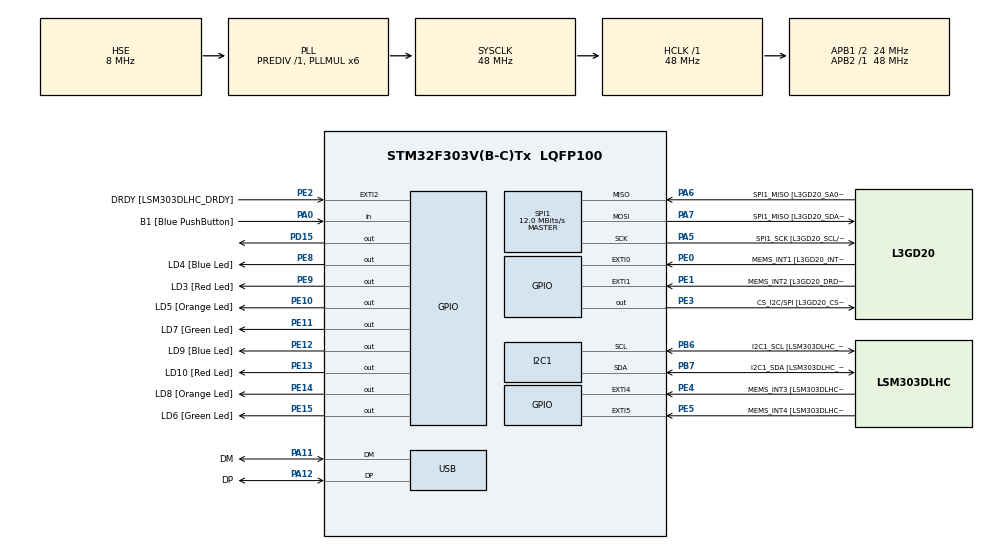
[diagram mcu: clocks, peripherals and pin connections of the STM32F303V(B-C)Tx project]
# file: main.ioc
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I2C1.Timing-I2C=0x2000090E
Mcu.Family=STM32F3
Mcu.Name=STM32F303V(B-C)Tx
Mcu.Package=LQFP100
NVIC.PriorityGroup=NVIC_PRIORITYGROUP_0
PA0.GPIO_Label=B1 [Blue PushButton]
PA0.Signal=GPIO_Input
PA11.GPIO_Label=DM
PA11.Mode=Device
PA11.Signal=USB_DM
PA12.GPIO_Label=DP
PA12.Mode=Device
PA12.Signal=USB_DP
PA13.GPIO_Label=SWDIO
PA13.Mode=Serial_Wire
PA13.Signal=SYS_JTMS-SWDIO
PA14.GPIO_Label=SWCLK
PA14.Mode=Serial_Wire
PA14.Signal=SYS_JTCK-SWCLK
PA5.GPIO_Label=SPI1_SCK [L3GD20_SCL/SPC]
PA5.Mode=Full_Duplex_Master
PA5.Signal=SPI1_SCK
PA6.GPIO_Label=SPI1_MISO [L3GD20_SA0/SDO]
PA6.Mode=Full_Duplex_Master
PA6.Signal=SPI1_MISO
PA7.GPIO_Label=SPI1_MISO [L3GD20_SDA/SDI/SDO]
PA7.Mode=Full_Duplex_Master
PA7.Signal=SPI1_MOSI
PB3.GPIO_Label=SWO
PB3.Signal=SYS_JTDO-TRACESWO
PB6.GPIO_Label=I2C1_SCL [LSM303DLHC_SCL]
PB6.GPIO_Pu=GPIO_PULLUP
PB6.Mode=I2C
PB6.Signal=I2C1_SCL
PB7.GPIO_Label=I2C1_SDA [LSM303DLHC_SDA]
PB7.GPIO_Pu=GPIO_PULLUP
PB7.Mode=I2C
PB7.Signal=I2C1_SDA
PC14-OSC32_IN.GPIO_Label=OSC32_IN
PC14-OSC32_IN.Signal=RCC_OSC32_IN
PC15-OSC32_OUT.GPIO_Label=OSC32_OUT
PC15-OSC32_OUT.Signal=RCC_OSC32_OUT
PD15.Signal=GPIO_Output
PE0.GPIO_Label=MEMS_INT1 [L3GD20_INT1]
PE0.GPIO_ModeDefaultEXTI=GPIO_MODE_EVT_RISING
PE0.Signal=GPXTI0
PE1.GPIO_Label=MEMS_INT2 [L3GD20_DRDY/INT2]
PE1.GPIO_ModeDefaultEXTI=GPIO_MODE_EVT_RISING
PE1.Signal=GPXTI1
PE10.GPIO_Label=LD5 [Orange Led]
PE10.Signal=GPIO_Output
PE11.GPIO_Label=LD7 [Green Led]
PE11.Signal=GPIO_Output
PE12.GPIO_Label=LD9 [Blue Led]
PE12.Signal=GPIO_Output
PE13.GPIO_Label=LD10 [Red Led]
PE13.Signal=GPIO_Output
PE14.GPIO_Label=LD8 [Orange Led]
PE14.Signal=GPIO_Output
PE15.GPIO_Label=LD6 [Green Led]
PE15.Signal=GPIO_Output
PE2.GPIO_Label=DRDY [LSM303DLHC_DRDY]
PE2.GPIO_ModeDefaultEXTI=GPIO_MODE_EVT_RISING
PE2.Signal=GPXTI2
PE3.GPIO_Label=CS_I2C/SPI [L3GD20_CS_I2C/SPI]
PE3.Signal=GPIO_Output
PE4.GPIO_Label=MEMS_INT3 [LSM303DLHC_INT1]
PE4.GPIO_ModeDefaultEXTI=GPIO_MODE_EVT_RISING
PE4.Signal=GPXTI4
PE5.GPIO_Label=MEMS_INT4 [LSM303DLHC_INT2]
PE5.GPIO_ModeDefaultEXTI=GPIO_MODE_EVT_RISING
PE5.Signal=GPXTI5
PE8.GPIO_Label=LD4 [Blue Led]
PE8.Signal=GPIO_Output
PE9.GPIO_Label=LD3 [Red Led]
PE9.Signal=GPIO_Output
PF0-OSC_IN.GPIO_Label=OSC_IN
PF0-OSC_IN.Mode=HSE-External-Clock-Source
PF0-OSC_IN.Signal=RCC_OSC_IN
PF1-OSC_OUT.GPIO_Label=OSC_OUT
PF1-OSC_OUT.Signal=RCC_OSC_OUT
ProjectManager.HeapSize=0x200
ProjectManager.StackSize=0x400
ProjectManager.TargetToolchain=STM32CubeIDE
RCC.AHBFreq_Value=48000000
RCC.APB1CLKDivider=RCC_HCLK_DIV2
RCC.APB1Freq_Value=24000000
RCC.APB1TimFreq_Value=48000000
RCC.APB2Freq_Value=48000000
RCC.APB2TimFreq_Value=48000000
RCC.CortexFreq_Value=48000000
RCC.HCLKFreq_Value=48000000
RCC.HSE_VALUE=8000000
RCC.HSI_VALUE=8000000
RCC.LSE_VALUE=32768
RCC.PLLMUL=RCC_PLL_MUL6
RCC.SYSCLKFreq_VALUE=48000000
RCC.SYSCLKSourceVirtual=RCC_SYSCLKSOURCE_PLLCLK
RCC.USBFreq_Value=48000000
SPI1.BaudRatePrescaler=SPI_BAUDRATEPRESCALER_4
SPI1.BaudRatePrescaler-Full_Duplex_Master=SPI_BAUDRATEPRESCALER_2
SPI1.CalculateBaudRate=12.0 MBits/s
SPI1.CalculateBaudRate-Full_Duplex_Master=24.0 MBits/s
SPI1.Direction=SPI_DIRECTION_2LINES
SPI1.Mode=SPI_MODE_MASTER
SPI1.Mode-Full_Duplex_Master=SPI_MODE_MASTER
SPI1.VirtualType=VM_MASTER
board=STM32F3DISCOVERY

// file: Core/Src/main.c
/* USER CODE BEGIN Header */
/**
  ******************************************************************************
  * @file           : main.c
  * @brief          : Main program body
  ******************************************************************************
  * @attention
  *
  * Copyright (c) 2024 STMicroelectronics.
  * All rights reserved.
  *
  * This software is licensed under terms that can be found in the LICENSE file
  * in the root directory of this software component.
  * If no LICENSE file comes with this software, it is provided AS-IS.
  *
  ******************************************************************************
  */
/* USER CODE END Header */
#include "main.h"

I2C_HandleTypeDef hi2c1;

SPI_HandleTypeDef hspi1;

PCD_HandleTypeDef hpcd_USB_FS;

void SystemClock_Config(void);
static void MX_GPIO_Init(void);
static void MX_I2C1_Init(void);
static void MX_SPI1_Init(void);
static void MX_USB_PCD_Init(void);

/* USER CODE BEGIN 0 */
struct MyStruct {
	uint16_t pin;
};
/* USER CODE END 0 */

int main(void)
{
  /* USER CODE BEGIN 1 */
	struct MyStruct pins [8];
	int i = 0;
	int temp = 1;
	int prev = 0;
	pins[0].pin = GPIO_PIN_8;
	pins[1].pin = GPIO_PIN_9;
	pins[2].pin = GPIO_PIN_10;
	pins[3].pin = GPIO_PIN_11;
	pins[4].pin = GPIO_PIN_12;
	pins[5].pin = GPIO_PIN_13;
	pins[6].pin = GPIO_PIN_14;
	pins[7].pin = GPIO_PIN_15;
  /* USER CODE END 1 */

  /* MCU Configuration--------------------------------------------------------*/

  /* Reset of all peripherals, Initializes the Flash interface and the Systick. */
  HAL_Init();

  /* Configure the system clock */
  SystemClock_Config();

  /* Initialize all configured peripherals */
  MX_GPIO_Init();
  MX_I2C1_Init();
  MX_SPI1_Init();
  MX_USB_PCD_Init();

  /* Infinite loop */
  while (1)
  {

    /* USER CODE BEGIN 3 */
	  int read_value = HAL_GPIO_ReadPin(GPIOA, GPIO_PIN_0);
	  if (read_value == 0 && prev == 1){
		  temp = (1-temp);
	  }
	  prev = read_value;
	  if (temp){
		  i++;
		  i%=8;
	  }
	  else{
		  i--;
		  if (i<0){
			  i+=8;
		  }
		  i%=8;
	  }
	  HAL_GPIO_WritePin(GPIOE, pins[i].pin, GPIO_PIN_SET);
	  HAL_Delay(1000);
	  HAL_GPIO_WritePin(GPIOE, pins[i].pin, GPIO_PIN_RESET);
  }
  /* USER CODE END 3 */
}

void SystemClock_Config(void)
{
  RCC_OscInitTypeDef RCC_OscInitStruct = {0};
  RCC_ClkInitTypeDef RCC_ClkInitStruct = {0};
  RCC_PeriphCLKInitTypeDef PeriphClkInit = {0};

  /** Initializes the RCC Oscillators according to the specified parameters
  * in the RCC_OscInitTypeDef structure.
  */
  RCC_OscInitStruct.OscillatorType = RCC_OSCILLATORTYPE_HSI|RCC_OSCILLATORTYPE_HSE;
  RCC_OscInitStruct.HSEState = RCC_HSE_BYPASS;
  RCC_OscInitStruct.HSEPredivValue = RCC_HSE_PREDIV_DIV1;
  RCC_OscInitStruct.HSIState = RCC_HSI_ON;
  RCC_OscInitStruct.HSICalibrationValue = RCC_HSICALIBRATION_DEFAULT;
  RCC_OscInitStruct.PLL.PLLState = RCC_PLL_ON;
  RCC_OscInitStruct.PLL.PLLSource = RCC_PLLSOURCE_HSE;
  RCC_OscInitStruct.PLL.PLLMUL = RCC_PLL_MUL6;
  if (HAL_RCC_OscConfig(&RCC_OscInitStruct) != HAL_OK)
  {
    Error_Handler();
  }

  /** Initializes the CPU, AHB and APB buses clocks
  */
  RCC_ClkInitStruct.ClockType = RCC_CLOCKTYPE_HCLK|RCC_CLOCKTYPE_SYSCLK
                              |RCC_CLOCKTYPE_PCLK1|RCC_CLOCKTYPE_PCLK2;
  RCC_ClkInitStruct.SYSCLKSource = RCC_SYSCLKSOURCE_PLLCLK;
  RCC_ClkInitStruct.AHBCLKDivider = RCC_SYSCLK_DIV1;
  RCC_ClkInitStruct.APB1CLKDivider = RCC_HCLK_DIV2;
  RCC_ClkInitStruct.APB2CLKDivider = RCC_HCLK_DIV1;

  if (HAL_RCC_ClockConfig(&RCC_ClkInitStruct, FLASH_LATENCY_1) != HAL_OK)
  {
    Error_Handler();
  }
  PeriphClkInit.PeriphClockSelection = RCC_PERIPHCLK_USB|RCC_PERIPHCLK_I2C1;
  PeriphClkInit.I2c1ClockSelection = RCC_I2C1CLKSOURCE_HSI;
  PeriphClkInit.USBClockSelection = RCC_USBCLKSOURCE_PLL;
  if (HAL_RCCEx_PeriphCLKConfig(&PeriphClkInit) != HAL_OK)
  {
    Error_Handler();
  }
}

static void MX_I2C1_Init(void)
{

  hi2c1.Instance = I2C1;
  hi2c1.Init.Timing = 0x2000090E;
  hi2c1.Init.OwnAddress1 = 0;
  hi2c1.Init.AddressingMode = I2C_ADDRESSINGMODE_7BIT;
  hi2c1.Init.DualAddressMode = I2C_DUALADDRESS_DISABLE;
  hi2c1.Init.OwnAddress2 = 0;
  hi2c1.Init.OwnAddress2Masks = I2C_OA2_NOMASK;
  hi2c1.Init.GeneralCallMode = I2C_GENERALCALL_DISABLE;
  hi2c1.Init.NoStretchMode = I2C_NOSTRETCH_DISABLE;
  if (HAL_I2C_Init(&hi2c1) != HAL_OK)
  {
    Error_Handler();
  }

  /** Configure Analogue filter
  */
  if (HAL_I2CEx_ConfigAnalogFilter(&hi2c1, I2C_ANALOGFILTER_ENABLE) != HAL_OK)
  {
    Error_Handler();
  }

  /** Configure Digital filter
  */
  if (HAL_I2CEx_ConfigDigitalFilter(&hi2c1, 0) != HAL_OK)
  {
    Error_Handler();
  }

}

static void MX_SPI1_Init(void)
{

  /* SPI1 parameter configuration*/
  hspi1.Instance = SPI1;
  hspi1.Init.Mode = SPI_MODE_MASTER;
  hspi1.Init.Direction = SPI_DIRECTION_2LINES;
  hspi1.Init.DataSize = SPI_DATASIZE_4BIT;
  hspi1.Init.CLKPolarity = SPI_POLARITY_LOW;
  hspi1.Init.CLKPhase = SPI_PHASE_1EDGE;
  hspi1.Init.NSS = SPI_NSS_SOFT;
  hspi1.Init.BaudRatePrescaler = SPI_BAUDRATEPRESCALER_4;
  hspi1.Init.FirstBit = SPI_FIRSTBIT_MSB;
  hspi1.Init.TIMode = SPI_TIMODE_DISABLE;
  hspi1.Init.CRCCalculation = SPI_CRCCALCULATION_DISABLE;
  hspi1.Init.CRCPolynomial = 7;
  hspi1.Init.CRCLength = SPI_CRC_LENGTH_DATASIZE;
  hspi1.Init.NSSPMode = SPI_NSS_PULSE_ENABLE;
  if (HAL_SPI_Init(&hspi1) != HAL_OK)
  {
    Error_Handler();
  }

}

static void MX_USB_PCD_Init(void)
{

  hpcd_USB_FS.Instance = USB;
  hpcd_USB_FS.Init.dev_endpoints = 8;
  hpcd_USB_FS.Init.speed = PCD_SPEED_FULL;
  hpcd_USB_FS.Init.phy_itface = PCD_PHY_EMBEDDED;
  hpcd_USB_FS.Init.low_power_enable = DISABLE;
  hpcd_USB_FS.Init.battery_charging_enable = DISABLE;
  if (HAL_PCD_Init(&hpcd_USB_FS) != HAL_OK)
  {
    Error_Handler();
  }

}

static void MX_GPIO_Init(void)
{
  GPIO_InitTypeDef GPIO_InitStruct = {0};

  /* GPIO Ports Clock Enable */
  __HAL_RCC_GPIOE_CLK_ENABLE();
  __HAL_RCC_GPIOC_CLK_ENABLE();
  __HAL_RCC_GPIOF_CLK_ENABLE();
  __HAL_RCC_GPIOA_CLK_ENABLE();
  __HAL_RCC_GPIOD_CLK_ENABLE();
  __HAL_RCC_GPIOB_CLK_ENABLE();

  /*Configure GPIO pin Output Level */
  HAL_GPIO_WritePin(GPIOE, CS_I2C_SPI_Pin|LD4_Pin|LD3_Pin|LD5_Pin
                          |LD7_Pin|LD9_Pin|LD10_Pin|LD8_Pin
                          |LD6_Pin, GPIO_PIN_RESET);

  /*Configure GPIO pin Output Level */
  HAL_GPIO_WritePin(GPIOD, GPIO_PIN_15, GPIO_PIN_RESET);

  /*Configure GPIO pins : DRDY_Pin MEMS_INT3_Pin MEMS_INT4_Pin MEMS_INT1_Pin
                           MEMS_INT2_Pin */
  GPIO_InitStruct.Pin = DRDY_Pin|MEMS_INT3_Pin|MEMS_INT4_Pin|MEMS_INT1_Pin
                          |MEMS_INT2_Pin;
  GPIO_InitStruct.Mode = GPIO_MODE_EVT_RISING;
  GPIO_InitStruct.Pull = GPIO_NOPULL;
  HAL_GPIO_Init(GPIOE, &GPIO_InitStruct);

  /*Configure GPIO pins : CS_I2C_SPI_Pin LD4_Pin LD3_Pin LD5_Pin
                           LD7_Pin LD9_Pin LD10_Pin LD8_Pin
                           LD6_Pin */
  GPIO_InitStruct.Pin = CS_I2C_SPI_Pin|LD4_Pin|LD3_Pin|LD5_Pin
                          |LD7_Pin|LD9_Pin|LD10_Pin|LD8_Pin
                          |LD6_Pin;
  GPIO_InitStruct.Mode = GPIO_MODE_OUTPUT_PP;
  GPIO_InitStruct.Pull = GPIO_NOPULL;
  GPIO_InitStruct.Speed = GPIO_SPEED_FREQ_LOW;
  HAL_GPIO_Init(GPIOE, &GPIO_InitStruct);

  /*Configure GPIO pin : B1_Pin */
  GPIO_InitStruct.Pin = B1_Pin;
  GPIO_InitStruct.Mode = GPIO_MODE_INPUT;
  GPIO_InitStruct.Pull = GPIO_NOPULL;
  HAL_GPIO_Init(B1_GPIO_Port, &GPIO_InitStruct);

  /*Configure GPIO pin : PD15 */
  GPIO_InitStruct.Pin = GPIO_PIN_15;
  GPIO_InitStruct.Mode = GPIO_MODE_OUTPUT_PP;
  GPIO_InitStruct.Pull = GPIO_NOPULL;
  GPIO_InitStruct.Speed = GPIO_SPEED_FREQ_LOW;
  HAL_GPIO_Init(GPIOD, &GPIO_InitStruct);

}

void Error_Handler(void)
{
  __disable_irq();
  while (1)
  {
  }
}
